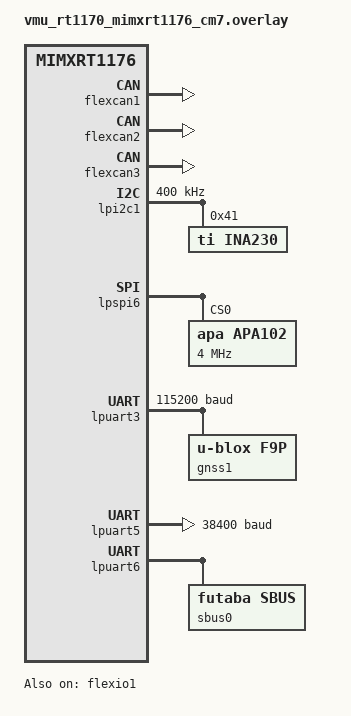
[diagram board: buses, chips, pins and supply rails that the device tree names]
/* SPDX-License-Identifier: Apache-2.0 */
/* Copyright 2024 CogniPilot Foundation */
#include <zephyr/dt-bindings/sensor/ina230.h>
#include <zephyr/dt-bindings/input/input-event-codes.h>

/ {
	dshot_actuators: dshot_actuators {
		compatible = "cerebri,dshot-actuators";
		aux0 {
			input-type = "velocity";
			input-index = <0>;
			center = <200>;
			scale = <1500>;
			scale-div = <1000>;
		};
		aux1 {
			input-type = "velocity";
			input-index = <1>;
			center = <200>;
			scale = <1500>;
			scale-div = <1000>;
		};
		aux2 {
			input-type = "velocity";
			input-index = <2>;
			center = <200>;
			scale = <1500>;
			scale-div = <1000>;
		};
		aux3 {
			input-type = "velocity";
			input-index = <3>;
			center = <200>;
			scale = <1500>;
			scale-div = <1000>;
		};
	};

	chosen {
		zephyr,canbus = &flexcan3;
	};

	aliases {
		can0 = &flexcan1;
		can1 = &flexcan2;
		can2 = &flexcan3;
		telem1 = &lpuart8; /* Use telem2 as telem1 */
		/*accel0 = &icm42686;*/
		accel0 = &icm42688_0;
		/*gyro0 = &icm42686;*/
		gyro0 = &icm42688_0;
		mag0 = &ist8310;
		mag1 = &bmm150;
		/* baro0 = &bmp388_0; */
		baro0 = &bmp388_1;
		power0 = &ina230;
		status-led = &ncp5623c;
		buzzer = &buzzer0;
		sbus = &sbus0;
		gnss = &gnss1;
	};
};

&flexpwm1_pwm0 {
	status = "disabled";
};

&flexpwm1_pwm1 {
	status = "disabled";
};

&flexpwm1_pwm2	{
	status = "disabled";
};

&flexpwm2_pwm0	{
	status = "disabled";
};

&flexpwm2_pwm1	{
	status = "disabled";
};

&flexpwm2_pwm2	{
	status = "disabled";
};

&flexpwm2_pwm3	{
	status = "disabled";
};

&flexpwm3_pwm0	{
	status = "disabled";
};


&flexcan1 {
	status = "okay";
};

&flexcan2 {
	status = "okay";
};

&flexcan3 {
	status = "okay";
};

&lpi2c1 {
	status = "okay";
	pinctrl-0 = <&pinmux_lpi2c1>;
	pinctrl-names = "default";
	clock-frequency = <I2C_BITRATE_FAST>;

	ina230: ina230@41 {
		compatible = "ti,ina230";
		reg = <0x41>;
		current-lsb-microamps = <5000>;
		rshunt-micro-ohms = <500>;
	};
};

&lpspi1 {
	/delete-node/ icm42688p0@0;
	/delete-property/ dmas;
	/delete-property/ dma-names;
};

&lpspi6 {
	status = "okay";
	apa102: apa102@0 {
		compatible = "apa,apa102";
		reg = <0>;
		spi-max-frequency = <4000000>;
		status = "okay";
		chain-length = <36>;
		color-mapping = <LED_COLOR_ID_BLUE
				 LED_COLOR_ID_GREEN
				 LED_COLOR_ID_RED>;
	};
};

&lpi2c2 {
	/delete-node/ bmp388@76;
};

&enet1g_phy {
	master-slave = "auto";
};

/* GNSS 1 */
uart0: &lpuart3 {
       status = "okay";
       current-speed = <115200>;

        gnss1: gnss {
                status = "okay";
                compatible = "u-blox,f9p";
                fix-rate = <100>;
        };
};

/* GNSS 2 */
uart1: &lpuart5 {
       status = "okay";
       current-speed = <38400>;
};

/* SBUS */
&lpuart6 {
	sbus0: sbus {
		/delete-node/ right_stick_x;
		/delete-node/ right_stick_y;
		/delete-node/ left_stick_x;
		/delete-node/ left_stick_y;
		/delete-node/ kill_switch;
		compatible = "futaba,sbus";
		chan_1 {
			channel = <1>;
			type = <INPUT_EV_ABS>;
			zephyr,code = <1>;
		};
		chan_2 {
			channel = <2>;
			type = <INPUT_EV_ABS>;
			zephyr,code = <2>;
		};
		chan_3 {
			channel = <3>;
			type = <INPUT_EV_ABS>;
			zephyr,code = <3>;
		};
		chan_4 {
			channel = <4>;
			type = <INPUT_EV_ABS>;
			zephyr,code = <4>;
		};
		chan_5 {
			channel = <5>;
			type = <INPUT_EV_ABS>;
			zephyr,code = <5>;
		};
		chan_6 {
			channel = <6>;
			type = <INPUT_EV_ABS>;
			zephyr,code = <6>;
		};
		chan_7 {
			channel = <7>;
			type = <INPUT_EV_ABS>;
			zephyr,code = <7>;
		};
		chan_8 {
			channel = <8>;
			type = <INPUT_EV_ABS>;
			zephyr,code = <8>;
		};
		chan_9 {
			channel = <9>;
			type = <INPUT_EV_ABS>;
			zephyr,code = <9>;
		};
		chan_10 {
			channel = <10>;
			type = <INPUT_EV_ABS>;
			zephyr,code = <10>;
		};
		chan_11 {
			channel = <11>;
			type = <INPUT_EV_ABS>;
			zephyr,code = <11>;
		};
		chan_12 {
			channel = <12>;
			type = <INPUT_EV_ABS>;
			zephyr,code = <12>;
		};
		chan_13 {
			channel = <13>;
			type = <INPUT_EV_ABS>;
			zephyr,code = <13>;
		};
		chan_14 {
			channel = <14>;
			type = <INPUT_EV_ABS>;
			zephyr,code = <14>;
		};
		chan_15 {
			channel = <15>;
			type = <INPUT_EV_ABS>;
			zephyr,code = <15>;
		};
		chan_16 {
			channel = <16>;
			type = <INPUT_EV_ABS>;
			zephyr,code = <16>;
		};
	};
};

/* DSHOT */

&pinctrl {
	
	pinmux_dshot_vmu: pinmux_dshot_vmu {
		group0 {
			pinmux = <&iomuxc_gpio_emc_b1_23_flexio1_flexio23>,
				<&iomuxc_gpio_emc_b1_25_flexio1_flexio25>,
				<&iomuxc_gpio_emc_b1_27_flexio1_flexio27>,
				<&iomuxc_gpio_emc_b1_06_flexio1_flexio06>,
				<&iomuxc_gpio_emc_b1_08_flexio1_flexio08>,
				<&iomuxc_gpio_emc_b1_10_flexio1_flexio10>,
				<&iomuxc_gpio_emc_b1_19_flexio1_flexio19>,
				<&iomuxc_gpio_emc_b1_29_flexio1_flexio29>;
			slew-rate = "fast";
			bias-pull-up;
			input-enable;
		};
	};
};

&flexio1 {
	status = "okay";

	dshot: dshot {
		compatible = "nxp,flexio-dshot";
		pinctrl-0 = <&pinmux_dshot_vmu>;
		pinctrl-names = "default";
		status = "okay";
		speed = <600>;

		ch1 {
			pin-id = <23>;
		};

		ch2 {
			pin-id = <25>;
		};

		ch3 {
			pin-id = <27>;
		};

		ch4 {
			pin-id = <6>;
		};

	};

};
